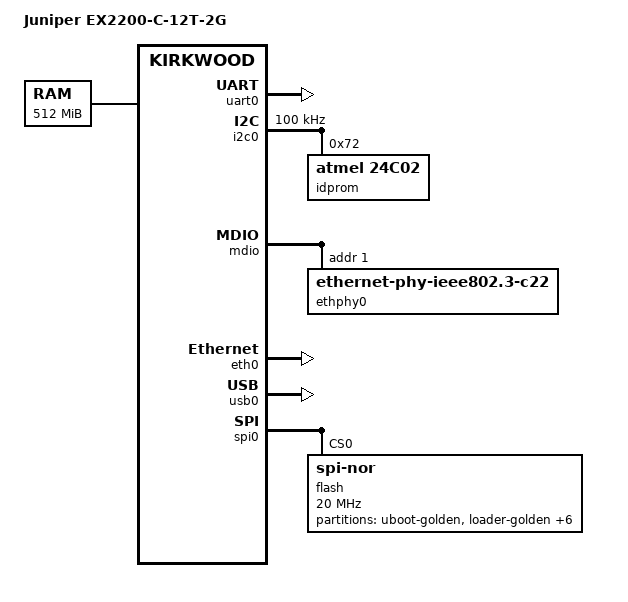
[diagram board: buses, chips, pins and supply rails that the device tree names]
// SPDX-License-Identifier: GPL-2.0
/*
 * Juniper EX2200-C-12T-2G
 *
 * Marvell Kirkwood 88F6281 (Feroceon 88FR131, ARMv5TE, 800 MHz), 512 MB DRAM,
 * 8 MB SPI NOR, USB root device, Marvell Prestera DX (Cheetah-3) switch ASIC
 * on the internal bus.
 *
 * Every address and IRQ below was taken from a live Junos boot on the target,
 * not from a datasheet. See the junos-ex2200-static-analysis repo,
 * findings/16 (memory map) and findings/38 (ASIC port map).
 *
 * STATUS: first draft. Not yet compiled with dtc, not yet booted.
 */

/dts-v1/;

#include "kirkwood.dtsi"
#include "kirkwood-6281.dtsi"

/ {
	model = "Juniper EX2200-C-12T-2G";
	compatible = "juniper,ex2200-c-12t-2g", "marvell,kirkwood-88f6281",
		     "marvell,kirkwood";

	memory@0 {
		device_type = "memory";
		reg = <0x00000000 0x20000000>;	/* 512 MB, confirmed at boot */
	};

	chosen {
		/*
		 * bootargs MUST live here. U-Boot 1.1.6 on this board does not
		 * get a command line through to the kernel - ATAG_CMDLINE never
		 * arrives, even with CONFIG_ARM_ATAG_DTB_COMPAT - so 'setenv
		 * bootargs' at the prompt has no effect whatsoever.
		 *
		 * Proven the hard way: with this property present the kernel
		 * reported exactly this string as its command line; with it
		 * removed, the kernel booted with NO command line and produced
		 * no output at all, because earlyprintk was never enabled.
		 *
		 * Consequence: changing kernel arguments means rebuilding the
		 * DTB, not typing at the U-Boot prompt.
		 */
		bootargs = "console=ttyS0,9600 earlyprintk ignore_loglevel sysrq_always_enabled";
		stdout-path = &uart0;
	};

	/*
	 * Junos reserves 8 MB at physical 0x100000 and hands it to userland
	 * through /dev/mpfe region 0 for DMA buffers and descriptor rings
	 * (machdep.iomem_physaddr / iomem_size; findings/30, findings/34).
	 *
	 * We reserve the same SIZE but not the same ADDRESS. Junos can use
	 * 0x100000 because its kernel lives elsewhere; a Linux zImage
	 * decompresses to PHYS_OFFSET+TEXT_OFFSET (0x8000) and is ~12 MB, so
	 * 0x100000..0x900000 falls inside the kernel image and the reservation
	 * is refused:
	 *
	 *   OF: reserved mem: failed to reserve memory for node
	 *       'pfe-dma@100000': base 0x00100000, size 8 MiB
	 *
	 * A size-only reservation lets the kernel place it somewhere valid.
	 * The Prestera can DMA anywhere in the 512 MB, so the address is not
	 * architecturally significant - only the size is.
	 */
	reserved-memory {
		#address-cells = <1>;
		#size-cells = <1>;
		ranges;

		pfe_dma: pfe-dma {
			size = <0x00800000>;		/* 8 MB, as Junos reserves */
			alignment = <0x00100000>;
			no-map;
		};
	};

	/*
	 * Front-panel button, on the SysPLD rather than a SoC GPIO.
	 * Junos reaches it via /dev/button. Left disabled until the SysPLD
	 * driver exists.
	 */
};

/* Console: 9600 8N1. The Kirkwood BootROM uses 115200, but only for kwboot. */
&uart0 {
	status = "okay";
};

/*
 * I2C: IDPROM at 0x72 (boot.ideeprom in the U-Boot environment), plus the
 * SysPLD and, on -12P- variants, the PoE controller. No PoE controller is
 * fitted on the 12T (/dev/poe is absent; poe0 attach fails at boot).
 */
&i2c0 {
	status = "okay";
	clock-frequency = <100000>;

	idprom: eeprom@72 {
		compatible = "atmel,24c02";
		reg = <0x72>;
		#address-cells = <1>;
		#size-cells = <1>;
		read-only;
		/*
		 * Layout: ad 01 00 40 ec 3e f7 5b bb 40
		 *   count 0x40 (64 MACs), base ec:3e:f7:5b:bb:40.
		 * The management MAC is base + 0x3f = ec:3e:f7:5b:bb:7f.
		 */
	};

	/* syspld@?? - CPLD: resets, LEDs, SFP LOS. Address not yet confirmed. */
};

/* Management port: the SoC's own GbE MAC, wired to the ASIC's CPU port. */
&mdio {
	status = "okay";

	/* Marvell 88E1118 at MDIO address 1. Found by letting the kernel
	 * scan: address 0 (the obvious guess, and what the first attempt
	 * used) is empty, which left mv643xx_eth at -EPROBE_DEFER forever.
	 * See findings/48. Confirmed on hardware -- eth0 links at
	 * 100 Mb/s full duplex and answers ping.
	 */
	ethphy0: ethernet-phy@1 {
		compatible = "ethernet-phy-ieee802.3-c22";
		reg = <1>;
	};
};

&eth0 {
	status = "okay";
	ethernet0-port@0 {
		phy-handle = <&ethphy0>;
		/* MAC comes from the IDPROM; U-Boot also sets ethaddr. */
	};
};

/* Root filesystem device is USB mass storage (Junos da0). */
&usb0 {
	status = "okay";
};

/*
 * 8 MB SPI NOR, memory-mapped at 0xf8000000 (boot.flash.start/size).
 * Layout from the U-Boot environment; see findings/29 and findings/45.
 * Marked read-only by default - nothing in bring-up should write it.
 */
&spi0 {
	status = "okay";

	flash@0 {
		compatible = "jedec,spi-nor";
		reg = <0>;
		spi-max-frequency = <20000000>;

		partitions {
			compatible = "fixed-partitions";
			#address-cells = <1>;
			#size-cells = <1>;

			partition@0 {
				label = "uboot-golden";
				reg = <0x000000 0x080000>;
				read-only;
			};
			partition@80000 {
				label = "loader-golden";
				reg = <0x080000 0x080000>;
				read-only;
			};
			partition@100000 {
				label = "uboot-upgrade";
				reg = <0x100000 0x080000>;
			};
			partition@180000 {
				label = "loader-upgrade";
				reg = <0x180000 0x080000>;
			};
			/* 0x200000-0x6fffff is erased and unused: 5 MB free. */
			partition@200000 {
				label = "spare";
				reg = <0x200000 0x500000>;
			};
			partition@700000 {
				label = "upgrade-state";
				reg = <0x700000 0x0e0000>;
			};
			partition@7e0000 {
				label = "opqenv";
				reg = <0x7e0000 0x010000>;
			};
			partition@7f0000 {
				label = "u-boot-env";
				reg = <0x7f0000 0x002000>;
			};
		};
	};
};

/*
 * No SATA on this board. kirkwood.dtsi leaves sata_phy0/1 status="okay",
 * so phy_mvebu_sata probes them at internal-regs +0x82000/+0x84000 with
 * gate_clk 14 - and HANGS. Touching a Marvell peripheral whose clock gate
 * is off wedges the bus, which is exactly what happened: the boot stopped
 * dead at
 *
 *   calling  phy_mvebu_sata_driver_init+0x0/0x10 @ 1
 *
 * and never returned. Found with + ignore_loglevel.
 *
 * PHY_MVEBU_SATA is def_bool y and depends on MACH_KIRKWOOD, so it cannot
 * be turned off in the config while Kirkwood support is on - the node has
 * to be disabled here instead.
 */
&sata_phy0 {
	status = "disabled";
};

&sata_phy1 {
	status = "disabled";
};

/*
 * There is no PCIe on this board - 'pcieprobe' at the U-Boot prompt returns
 * "No PCIE supported" (findings/44). The Prestera is on the internal bus.
 */
&pciec {
	status = "disabled";
};

/*
 * Marvell Prestera DX (Cheetah-3) switch ASIC.
 *
 * Junos reports it as:
 *   mpfe0: <Juniper EX-series Packet Forwarding Engine>
 *          at mem 0xf4000000-0xf7ffffff irq 113 on mbus0
 *
 * The mbus target/attribute pair was read from the live CPU address-decode
 * windows at internal-regs +0x20000 (U-Boot: "md 0xf1020000 20"). Window 6:
 *
 *   ctrl 0x03ff00c1  base 0xf4000000
 *     bit0    = 1        enabled
 *     [7:4]   = 0x0c     target
 *     [15:8]  = 0x00     attribute
 *     [31:16] = 0x03ff   size = (0x3ff+1) << 16 = 64 MB
 *
 * The same decode reproduces two windows mainline already names -
 * MBUS_ID(0x01,0x2f) nand flash and MBUS_ID(0x03,0x01) crypto sram - which is
 * what confirms the bit layout.
 *
 * kirkwood.dtsi says a board changing 'ranges' must replace it completely, so
 * the whole property is restated here rather than appended to.
 */
&{/mbus@f1000000} {
	ranges = <MBUS_ID(0xf0, 0x01) 0 0xf1000000 0x0100000	/* internal-regs */
		  MBUS_ID(0x01, 0x2f) 0 0xf9000000 0x0800000	/* nand flash    */
		  MBUS_ID(0x03, 0x01) 0 0xfb000000 0x0010000	/* crypto sram   */
		  MBUS_ID(0x0c, 0x00) 0 0xf4000000 0x4000000>;	/* Prestera      */

	pp0: packet-processor@c00 {
		compatible = "juniper,ex2200-prestera", "marvell,prestera-dxch3";
		reg = <MBUS_ID(0x0c, 0x00) 0 0x4000000>;	/* 4 x 16 MB windows */
		interrupt-parent = <&intc>;
		interrupts = <113>;
		memory-region = <&pfe_dma>;
		/*
		 * No driver exists yet. Port map for whoever writes one --
		 * READ FROM THE LIVE ASIC, and NOT the identity map that
		 * static analysis first suggested (findings/49 corrects
		 * findings/38):
		 *
		 *   front-panel ge-0/0/N -> ASIC port (N XOR 1)   N = 0..11
		 *   uplink      ge-0/1/0 -> ASIC port 26
		 *   uplink      ge-0/1/1 -> ASIC port 27
		 *   ports 12, 13, 24, 25 -> internal
		 *
		 * Every copper pair is swapped. A driver built on N -> N
		 * mis-targets every port on the box, and the symptom (traffic
		 * on the neighbouring port) reads as a cabling fault.
		 *
		 * Confirmed three ways: phypeek, show phy, and the hardware
		 * VLAN member bitmap 0x0C000FF4 (bits 26/27 set, 12/13 clear).
		 * Quad PHY is an 88E1540, driven by mainline marvell.c.
		 */
		status = "disabled";
	};
};
